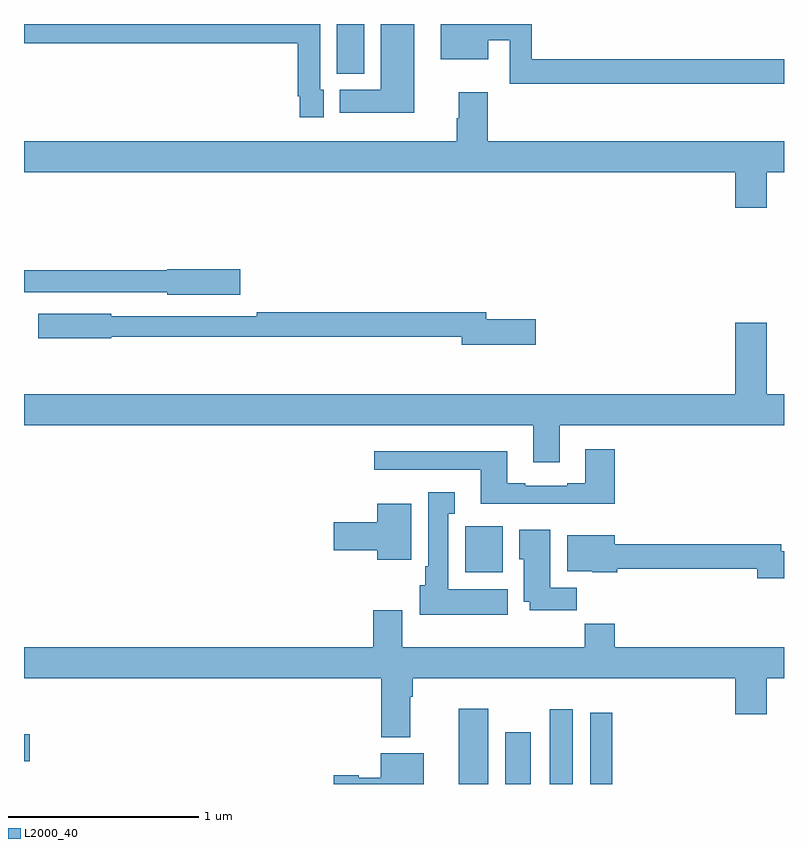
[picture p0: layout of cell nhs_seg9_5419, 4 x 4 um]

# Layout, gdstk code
import gdstk
lib = gdstk.Library(unit=1e-6, precision=1e-09)
def R(c, l, rs):  # rectangles x0, y0, x1, y1
    for r in rs: c.add(gdstk.rectangle(r[:2], r[2:], *l))
def P(c, l, *ps):  # polygons
    for p in ps: c.add(gdstk.Polygon(p, *l))
L2000_40 = (2000, 40)

nhs_seg9_5419 = lib.new_cell('nhs_seg9_5419')
R(nhs_seg9_5419, L2000_40, [(427.289,1226.5,427.444,1226.896), (427.532,1226.5,427.666,1226.773), (427.766,1226.5,427.888,1226.893), (427.98,1226.5,428.096,1226.875), (425,1226.621,425.029,1226.763), (427.322,1227.614,427.519,1227.856), (426.647,1230.239,426.79,1230.5)])
P(nhs_seg9_5419, L2000_40, [(427.054,1230.5),(426.878,1230.5),(426.878,1230.154),(426.662,1230.154),(426.662,1230.032),(427.054,1230.032)],
  [(426.577,1230.153),(426.558,1230.153),(426.558,1230.5),(425,1230.5),(425,1230.4),(426.442,1230.4),(426.442,1230.121),(426.45,1230.121),(426.45,1230.009),(426.577,1230.009)],
  [(429,1230.314),(427.673,1230.314),(427.673,1230.5),(427.193,1230.5),(427.193,1230.314),(427.444,1230.314),(427.444,1230.415),(427.557,1230.415),(427.557,1230.186),(429,1230.186)],
  [(428.908,1229.72),(429,1229.72),(429,1229.884),(427.442,1229.884),(427.442,1230.142),(427.289,1230.142),(427.289,1230.005),(427.277,1230.005),(427.277,1229.884),(425,1229.884),(425,1229.72),(428.744,1229.72),(428.744,1229.532),(428.908,1229.532)],
  [(426.139,1229.21),(425.754,1229.21),(425.754,1229.204),(425,1229.204),(425,1229.088),(425.754,1229.088),(425.754,1229.075),(426.139,1229.075)],
  [(427.693,1228.946),(427.432,1228.946),(427.432,1228.982),(426.226,1228.982),(426.226,1228.962),(425.46,1228.962),(425.46,1228.975),(425.076,1228.975),(425.076,1228.846),(425.46,1228.846),(425.46,1228.854),(427.304,1228.854),(427.304,1228.811),(427.693,1228.811)],
  [(427.819,1228.388),(429,1228.388),(429,1228.552),(428.908,1228.552),(428.908,1228.927),(428.744,1228.927),(428.744,1228.552),(425,1228.552),(425,1228.388),(427.679,1228.388),(427.679,1228.194),(427.819,1228.194)],
  [(428.108,1228.261),(427.955,1228.261),(427.955,1228.084),(427.859,1228.084),(427.859,1228.071),(427.639,1228.071),(427.639,1228.084),(427.543,1228.084),(427.543,1228.252),(426.843,1228.252),(426.843,1228.155),(427.403,1228.155),(427.403,1227.974),(428.108,1227.974)],
  [(427.546,1227.526),(427.234,1227.526),(427.234,1227.923),(427.267,1227.923),(427.267,1228.036),(427.127,1228.036),(427.127,1227.646),(427.112,1227.646),(427.112,1227.546),(427.082,1227.546),(427.082,1227.392),(427.546,1227.392)],
  [(427.039,1227.976),(426.86,1227.976),(426.86,1227.878),(426.63,1227.878),(426.63,1227.731),(426.86,1227.731),(426.86,1227.68),(427.039,1227.68)],
  [(427.91,1227.532),(427.771,1227.532),(427.771,1227.838),(427.607,1227.838),(427.607,1227.684),(427.631,1227.684),(427.631,1227.458),(427.661,1227.458),(427.661,1227.414),(427.91,1227.414)],
  [(429,1227.725),(428.986,1227.725),(428.986,1227.761),(428.11,1227.761),(428.11,1227.808),(427.859,1227.808),(427.859,1227.62),(427.992,1227.62),(427.992,1227.614),(428.123,1227.614),(428.123,1227.633),(428.858,1227.633),(428.858,1227.583),(429,1227.583)],
  [(427.033,1226.96),(427.046,1226.96),(427.046,1227.056),(428.744,1227.056),(428.744,1226.868),(428.908,1226.868),(428.908,1227.056),(429,1227.056),(429,1227.22),(428.108,1227.22),(428.108,1227.344),(427.951,1227.344),(427.951,1227.22),(426.991,1227.22),(426.991,1227.415),(426.839,1227.415),(426.839,1227.22),(425,1227.22),(425,1227.056),(426.881,1227.056),(426.881,1226.747),(427.033,1226.747)],
  [(427.105,1226.662),(426.878,1226.662),(426.878,1226.533),(426.762,1226.533),(426.762,1226.546),(426.63,1226.546),(426.63,1226.5),(427.105,1226.5)])

lib.write_gds('nhs_seg9_5419.gds')
